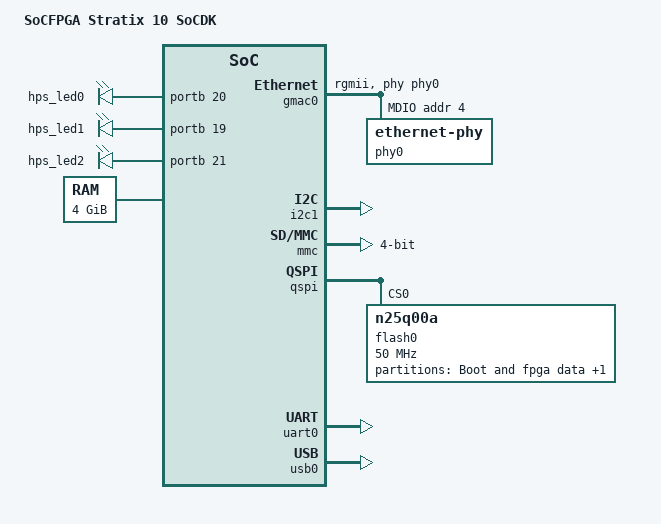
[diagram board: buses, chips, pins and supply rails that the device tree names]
// SPDX-License-Identifier: GPL-2.0
/*
 * Copyright (C) 2018 Intel Corporation
 */

#include "socfpga_stratix10.dtsi"

/ {
	model = "SoCFPGA Stratix 10 SoCDK";

	aliases {
		i2c0 = &i2c1;
		serial0 = &uart0;
	};

	chosen {
		stdout-path = "serial0:115200n8";
	};

	leds {
		compatible = "gpio-leds";
		hps0 {
			label = "hps_led0";
			gpios = <&portb 20 GPIO_ACTIVE_HIGH>;
		};

		hps1 {
			label = "hps_led1";
			gpios = <&portb 19 GPIO_ACTIVE_HIGH>;
		};

		hps2 {
			label = "hps_led2";
			gpios = <&portb 21 GPIO_ACTIVE_HIGH>;
		};
	};

	memory {
		device_type = "memory";
		/* 4GB */
		reg = <0 0x00000000 0 0x80000000>,
		      <1 0x80000000 0 0x80000000>;
		u-boot,dm-pre-reloc;
	};
};

&gpio1 {
	status = "okay";
};

&gmac0 {
	status = "okay";
	phy-mode = "rgmii";
	phy-handle = <&phy0>;

	max-frame-size = <3800>;

	mdio0 {
		#address-cells = <1>;
		#size-cells = <0>;
		compatible = "snps,dwmac-mdio";
		phy0: ethernet-phy@0 {
			reg = <4>;

			txd0-skew-ps = <0>; /* -420ps */
			txd1-skew-ps = <0>; /* -420ps */
			txd2-skew-ps = <0>; /* -420ps */
			txd3-skew-ps = <0>; /* -420ps */
			rxd0-skew-ps = <420>; /* 0ps */
			rxd1-skew-ps = <420>; /* 0ps */
			rxd2-skew-ps = <420>; /* 0ps */
			rxd3-skew-ps = <420>; /* 0ps */
			txen-skew-ps = <0>; /* -420ps */
			txc-skew-ps = <1860>; /* 960ps */
			rxdv-skew-ps = <420>; /* 0ps */
			rxc-skew-ps = <1680>; /* 780ps */
		};
	};
};

&i2c1 {
	status = "okay";
};

&mmc {
	status = "okay";
	cap-sd-highspeed;
	cap-mmc-highspeed;
	broken-cd;
	bus-width = <4>;
	drvsel = <3>;
	smplsel = <0>;
};

&qspi {
	flash0: flash@0 {
		#address-cells = <1>;
		#size-cells = <1>;
		compatible = "n25q00a";
		reg = <0>;
		spi-max-frequency = <50000000>;

		m25p,fast-read;
		cdns,page-size = <256>;
		cdns,block-size = <16>;
		cdns,read-delay = <1>;
		cdns,tshsl-ns = <50>;
		cdns,tsd2d-ns = <50>;
		cdns,tchsh-ns = <4>;
		cdns,tslch-ns = <4>;

		partitions {
			compatible = "fixed-partitions";
			#address-cells = <1>;
			#size-cells = <1>;

			qspi_boot: partition@0 {
				label = "Boot and fpga data";
				reg = <0x0 0x4000000>;
			};

			qspi_rootfs: partition@4000000 {
				label = "Root Filesystem - JFFS2";
				reg = <0x4000000 0x4000000>;
			};
		};
	};
};

&uart0 {
	status = "okay";
};

&usb0 {
	status = "okay";
};
